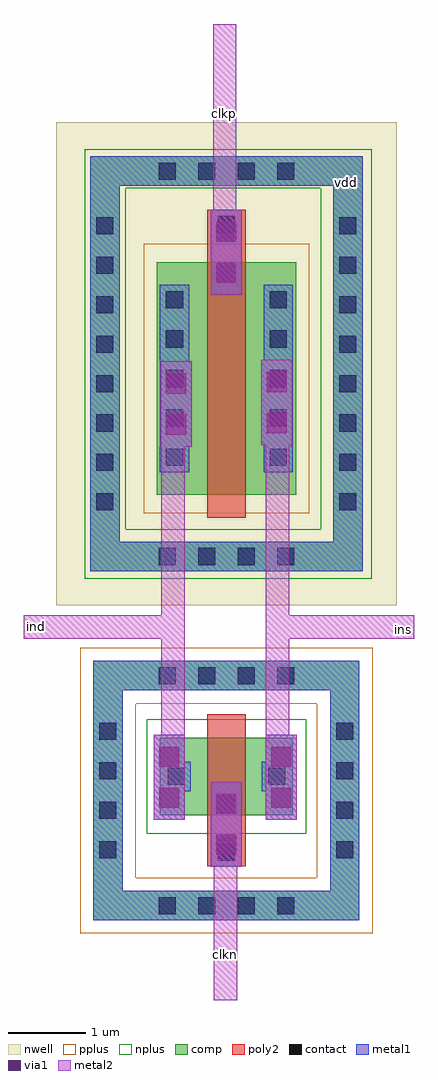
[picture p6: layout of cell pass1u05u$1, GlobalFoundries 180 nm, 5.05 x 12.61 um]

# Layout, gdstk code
import gdstk
lib = gdstk.Library(unit=1e-6, precision=5e-09)
def R(c, l, rs):  # rectangles x0, y0, x1, y1
    for r in rs: c.add(gdstk.rectangle(r[:2], r[2:], *l))
def A(c, l, x, y, w, h, nx, ny, dx, dy):  # array of equal rectangles
    R(c, l, [(x+i*dx, y+j*dy, x+i*dx+w, y+j*dy+h) for i in range(nx) for j in range(ny)])
def P(c, l, *ps):  # polygons
    for p in ps: c.add(gdstk.Polygon(p, *l))
nwell = (21, 0)
comp = (22, 0)
poly2 = (30, 0)
pplus = (31, 0)
nplus = (32, 0)
contact = (33, 0)
metal1 = (34, 0)
via1 = (35, 0)
metal2 = (36, 0)

via_dev_3 = lib.new_cell('via_dev$3')
R(via_dev_3, metal1, [(0,0,0.4,1.1)])
R(via_dev_3, via1, [(0.07,0.155,0.33,0.415), (0.07,0.685,0.33,0.945)])
R(via_dev_3, metal2, [(0,0,0.4,1.1)])

pfet_4 = lib.new_cell('pfet$4')
R(pfet_4, nwell, [(-1.76,-1.43,2.64,4.81)])
R(pfet_4, comp, [(-0.46,0,0,3), (0,0,0.88,3), (0.88,0,1.34,3)])
P(pfet_4, comp, [(-1.32,-0.99),(-1.32,3.99),(-0.94,3.99),(-0.94,-0.61),(1.82,-0.61),(1.82,3.99),(-1.32,3.99),(-1.32,4.37),(2.2,4.37),(2.2,-0.99)])
R(pfet_4, poly2, [(0.19,-0.3,0.69,3.3), (0.19,3.3,0.69,3.68)])
R(pfet_4, pplus, [(-0.63,-0.24,1.51,3.24)])
A(pfet_4, contact, -0.435, -0.91, 0.22, 0.22, 4, 2, 0.51, 4.98)
A(pfet_4, contact, -1.24, -0.205, 0.22, 0.22, 1, 8, 0, 0.51)
A(pfet_4, contact, 1.9, -0.205, 0.22, 0.22, 1, 8, 0, 0.51)
A(pfet_4, contact, -0.34, 0.37, 0.22, 0.22, 1, 5, 0, 0.51)
A(pfet_4, contact, 1, 0.37, 0.22, 0.22, 1, 5, 0, 0.51)
R(pfet_4, contact, [(0.33,3.38,0.55,3.6)])
R(pfet_4, metal1, [(-0.42,0.29,-0.04,2.71), (0.92,0.29,1.3,2.71), (0.25,3.3,0.63,3.68)])

nfet_4 = lib.new_cell('nfet$4')
R(nfet_4, comp, [(-0.42,0,0,1), (0,0,0.88,1), (0.88,0,1.3,1)])
P(nfet_4, comp, [(-1.28,-1.36),(-1.28,1.61),(-0.9,1.61),(-0.9,-0.98),(1.78,-0.98),(1.78,1.61),(-1.28,1.61),(-1.28,1.99),(2.16,1.99),(2.16,-1.36)])
R(nfet_4, poly2, [(0.19,-0.66,0.69,-0.3), (0.19,-0.3,0.69,1.3)])
P(nfet_4, pplus, [(-1.45,-1.53),(-1.45,1.44),(-0.73,1.44),(-0.73,-0.81),(1.61,-0.81),(1.61,1.44),(-1.45,1.44),(-1.45,2.16),(2.33,2.16),(2.33,-1.53)])
R(nfet_4, nplus, [(-0.59,-0.24,1.47,1.24)])
A(nfet_4, contact, -0.435, -1.28, 0.22, 0.22, 4, 2, 0.51, 2.97)
A(nfet_4, contact, -1.2, -0.56, 0.22, 0.22, 1, 4, 0, 0.51)
A(nfet_4, contact, 1.86, -0.56, 0.22, 0.22, 1, 4, 0, 0.51)
R(nfet_4, contact, [(0.33,-0.59,0.55,-0.37), (-0.32,0.39,-0.1,0.61), (0.98,0.39,1.2,0.61)])
R(nfet_4, metal1, [(0.25,-0.67,0.63,-0.29), (-0.4,0.31,-0.02,0.69), (0.9,0.31,1.28,0.69)])

pass1u05u_1 = lib.new_cell('pass1u05u$1')
R(pass1u05u_1, nplus, [(1.675,0.58,2.205,6.12), (1.675,0.58,5.385,1.22), (4.725,0.58,5.385,6.13), (1.675,5.63,5.385,6.13)])
R(pass1u05u_1, metal1, [(1.785,-3.83,2.165,-0.48), (2.165,-3.83,5.225,-3.45), (4.845,-3.45,5.225,-0.48), (2.165,-0.86,4.845,-0.48), (1.745,0.68,2.125,6.04), (2.125,0.68,5.265,1.06), (4.885,1.06,5.265,6.04), (2.125,5.66,4.885,6.04)])
pass1u05u_1.add(gdstk.FlexPath([(2.815,2.445),(2.815,-2.53)], 0.3, ends="flush", simple_path=True, layer=36, datatype=0))  # metal2
pass1u05u_1.add(gdstk.FlexPath([(4.165,2.445),(4.165,-2.53)], 0.3, ends="flush", simple_path=True, layer=36, datatype=0))  # metal2
pass1u05u_1.add(gdstk.FlexPath([(3.495,-2.84),(3.495,-4.86)], 0.3, ends="flush", simple_path=True, layer=36, datatype=0))  # metal2
pass1u05u_1.add(gdstk.FlexPath([(3.485,4.97),(3.485,7.75)], 0.3, ends="flush", simple_path=True, layer=36, datatype=0))  # metal2
pass1u05u_1.add(gdstk.FlexPath([(2.815,-0.04),(0.885,-0.04)], 0.3, ends="flush", simple_path=True, layer=36, datatype=0))  # metal2
pass1u05u_1.add(gdstk.FlexPath([(5.935,-0.04),(4.015,-0.04)], 0.3, ends="flush", simple_path=True, layer=36, datatype=0))  # metal2
pass1u05u_1.add(gdstk.Reference(via_dev_3, (2.565,-2.53)))
pass1u05u_1.add(gdstk.Reference(via_dev_3, (4.015,-2.53)))
pass1u05u_1.add(gdstk.Reference(via_dev_3, (2.655,2.29)))
pass1u05u_1.add(gdstk.Reference(via_dev_3, (3.955,2.31)))
pass1u05u_1.add(gdstk.Reference(pfet_4, (3.065,1.67)))
pass1u05u_1.add(gdstk.Reference(nfet_4, (3.065,-2.47)))
pass1u05u_1.add(gdstk.Reference(via_dev_3, (3.305,4.25)))
pass1u05u_1.add(gdstk.Reference(via_dev_3, (3.305,-3.14)))
pass1u05u_1.add(gdstk.Label('vdd', (5.055,5.7), layer=34, texttype=10))
pass1u05u_1.add(gdstk.Label('ind', (1.055,-0.04), layer=36, texttype=10))
pass1u05u_1.add(gdstk.Label('ins', (5.795,-0.07), layer=36, texttype=10))
pass1u05u_1.add(gdstk.Label('clkp', (3.485,6.59), layer=36, texttype=10))
pass1u05u_1.add(gdstk.Label('clkn', (3.495,-4.27), layer=36, texttype=10))

lib.write_gds('pass1u05u_1.gds')
